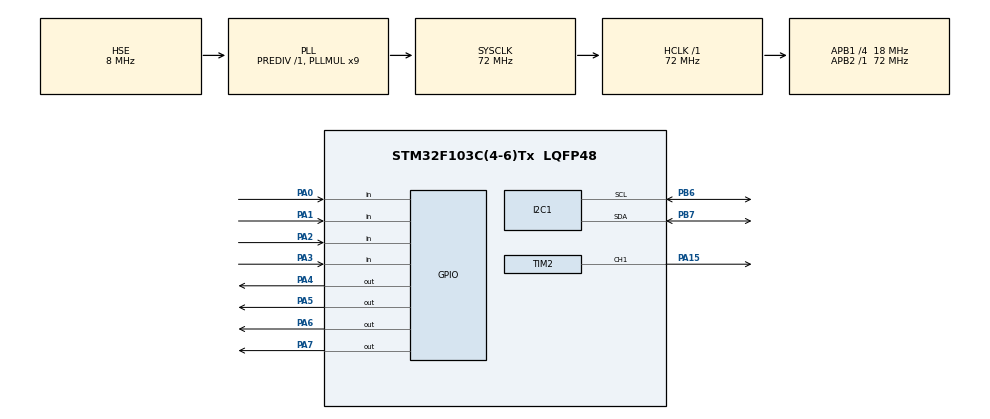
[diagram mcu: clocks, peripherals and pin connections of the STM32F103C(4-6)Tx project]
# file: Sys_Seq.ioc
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Mcu.Family=STM32F1
Mcu.Name=STM32F103C(4-6)Tx
Mcu.Package=LQFP48
NVIC.FLASH_IRQn=true\:0\:0\:false\:false\:true\:true\:true\:true
NVIC.I2C1_ER_IRQn=true\:0\:0\:false\:false\:true\:true\:true\:true
NVIC.I2C1_EV_IRQn=true\:0\:0\:false\:false\:true\:true\:true\:true
NVIC.PriorityGroup=NVIC_PRIORITYGROUP_4
NVIC.RCC_IRQn=true\:0\:0\:false\:false\:true\:true\:false\:true
NVIC.TIM2_IRQn=true\:0\:0\:false\:false\:true\:true\:true\:true
PA0-WKUP.GPIO_PuPd=GPIO_PULLUP
PA0-WKUP.Signal=GPIO_Input
PA1.GPIO_PuPd=GPIO_PULLUP
PA1.Signal=GPIO_Input
PA13.Mode=Serial_Wire
PA13.Signal=SYS_JTMS-SWDIO
PA14.Mode=Serial_Wire
PA14.Signal=SYS_JTCK-SWCLK
PA15.Signal=S_TIM2_CH1_ETR
PA2.GPIO_PuPd=GPIO_PULLUP
PA2.Signal=GPIO_Input
PA3.GPIO_PuPd=GPIO_PULLUP
PA3.Signal=GPIO_Input
PA4.GPIO_ModeDefaultOutputPP=GPIO_MODE_OUTPUT_OD
PA4.GPIO_PuPd=GPIO_NOPULL
PA4.GPIO_Speed=GPIO_SPEED_FREQ_LOW
PA4.PinState=GPIO_PIN_RESET
PA4.Signal=GPIO_Output
PA5.GPIO_ModeDefaultOutputPP=GPIO_MODE_OUTPUT_OD
PA5.GPIO_PuPd=GPIO_NOPULL
PA5.GPIO_Speed=GPIO_SPEED_FREQ_LOW
PA5.PinState=GPIO_PIN_RESET
PA5.Signal=GPIO_Output
PA6.GPIO_ModeDefaultOutputPP=GPIO_MODE_OUTPUT_OD
PA6.GPIO_PuPd=GPIO_NOPULL
PA6.GPIO_Speed=GPIO_SPEED_FREQ_LOW
PA6.PinState=GPIO_PIN_RESET
PA6.Signal=GPIO_Output
PA7.GPIO_ModeDefaultOutputPP=GPIO_MODE_OUTPUT_OD
PA7.GPIO_PuPd=GPIO_NOPULL
PA7.GPIO_Speed=GPIO_SPEED_FREQ_LOW
PA7.PinState=GPIO_PIN_RESET
PA7.Signal=GPIO_Output
PB6.Mode=I2C
PB6.Signal=I2C1_SCL
PB7.Mode=I2C
PB7.Signal=I2C1_SDA
PD0-OSC_IN.Mode=HSE-External-Oscillator
PD0-OSC_IN.Signal=RCC_OSC_IN
PD1-OSC_OUT.Mode=HSE-External-Oscillator
PD1-OSC_OUT.Signal=RCC_OSC_OUT
ProjectManager.HeapSize=0x200
ProjectManager.StackSize=0x400
ProjectManager.TargetToolchain=STM32CubeIDE
RCC.AHBFreq_Value=72000000
RCC.APB1CLKDivider=RCC_HCLK_DIV4
RCC.APB1Freq_Value=18000000
RCC.APB1TimFreq_Value=36000000
RCC.APB2Freq_Value=72000000
RCC.APB2TimFreq_Value=72000000
RCC.HCLKFreq_Value=72000000
RCC.PLLMUL=RCC_PLL_MUL9
RCC.PLLSourceVirtual=RCC_PLLSOURCE_HSE
RCC.SYSCLKFreq_VALUE=72000000
RCC.SYSCLKSource=RCC_SYSCLKSOURCE_PLLCLK
RCC.USBFreq_Value=72000000
SH.S_TIM2_CH1_ETR.0=TIM2_CH1,PWM Generation1 CH1
TIM2.Channel-PWM\ Generation1\ CH1=TIM_CHANNEL_1
TIM2.Period=999
TIM2.Prescaler=720
VP_TIM2_VS_ClockSourceINT.Mode=Internal
board=custom

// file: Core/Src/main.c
/* USER CODE BEGIN Header */
/**
  ******************************************************************************
  * @file           : main.c
  * @brief          : Main program body
  ******************************************************************************
  ** This notice applies to any and all portions of this file
  * that are not between comment pairs USER CODE BEGIN and
  * USER CODE END. Other portions of this file, whether
  * inserted by the user or by software development tools
  * are owned by their respective copyright owners.
  *
  * COPYRIGHT(c) 2019 STMicroelectronics
  *
  * Redistribution and use in source and binary forms, with or without modification,
  * are permitted provided that the following conditions are met:
  *   1. Redistributions of source code must retain the above copyright notice,
  *      this list of conditions and the following disclaimer.
  *   2. Redistributions in binary form must reproduce the above copyright notice,
  *      this list of conditions and the following disclaimer in the documentation
  *      and/or other materials provided with the distribution.
  *   3. Neither the name of STMicroelectronics nor the names of its contributors
  *      may be used to endorse or promote products derived from this software
  *      without specific prior written permission.
  *
  * THIS SOFTWARE IS PROVIDED BY THE COPYRIGHT HOLDERS AND CONTRIBUTORS "AS IS"
  * AND ANY EXPRESS OR IMPLIED WARRANTIES, INCLUDING, BUT NOT LIMITED TO, THE
  * IMPLIED WARRANTIES OF MERCHANTABILITY AND FITNESS FOR A PARTICULAR PURPOSE ARE
  * DISCLAIMED. IN NO EVENT SHALL THE COPYRIGHT HOLDER OR CONTRIBUTORS BE LIABLE
  * FOR ANY DIRECT, INDIRECT, INCIDENTAL, SPECIAL, EXEMPLARY, OR CONSEQUENTIAL
  * DAMAGES (INCLUDING, BUT NOT LIMITED TO, PROCUREMENT OF SUBSTITUTE GOODS OR
  * SERVICES; LOSS OF USE, DATA, OR PROFITS; OR BUSINESS INTERRUPTION) HOWEVER
  * CAUSED AND ON ANY THEORY OF LIABILITY, WHETHER IN CONTRACT, STRICT LIABILITY,
  * OR TORT (INCLUDING NEGLIGENCE OR OTHERWISE) ARISING IN ANY WAY OUT OF THE USE
  * OF THIS SOFTWARE, EVEN IF ADVISED OF THE POSSIBILITY OF SUCH DAMAGE.
  *
  ******************************************************************************
  */
/* USER CODE END Header */
#include "main.h"

/* USER CODE BEGIN Includes */
#include "i2c-lcd.h"
#include <string.h>
#include <stdio.h>
#include <stdlib.h>
/* USER CODE END Includes */

/* USER CODE BEGIN PD */
#define R1_PORT GPIOA
#define R1_PIN GPIO_PIN_7

#define R2_PORT GPIOA
#define R2_PIN GPIO_PIN_6

#define R3_PORT GPIOA
#define R3_PIN GPIO_PIN_5

#define R4_PORT GPIOA
#define R4_PIN GPIO_PIN_4

#define C1_PORT GPIOA
#define C1_PIN GPIO_PIN_3

#define C2_PORT GPIOA
#define C2_PIN GPIO_PIN_2

#define C3_PORT GPIOA
#define C3_PIN GPIO_PIN_1

#define C4_PORT GPIOA
#define C4_PIN GPIO_PIN_0

// Размер матрицы клавиатуры
#define ROWS 4
#define COLS 4
#define SIZE_BUFFER_CODE 8
#define SIZE_PASSWORD 4
#define RESET_PASSWORD "0#01"
/* USER CODE END PD */

I2C_HandleTypeDef hi2c1;

TIM_HandleTypeDef htim2;

/* USER CODE BEGIN PV */
uint8_t special_flag;
char key;
char buffer_code[SIZE_BUFFER_CODE];
char password[SIZE_PASSWORD] = {'1','2','3','4'};
char stars_password[SIZE_PASSWORD];
/* USER CODE END PV */

void SystemClock_Config(void);
static void MX_GPIO_Init(void);
static void MX_I2C1_Init(void);
static void MX_TIM2_Init(void);

/* USER CODE BEGIN 0 */
 void Servo()
{
HAL_TIM_PWM_Start(&htim2, TIM_CHANNEL_1);
htim2.Instance -> CCR1 = 35;
HAL_Delay(500);
htim2.Instance -> CCR1 = 72;
HAL_Delay(3000);
htim2.Instance -> CCR1 = 112;
HAL_Delay(500);
HAL_TIM_PWM_Stop(&htim2, TIM_CHANNEL_1);
}

char read_keypad (void)
{
	/* Make ROW 1 LOW and all other ROWs HIGH */
	HAL_GPIO_WritePin (R1_PORT, R1_PIN, GPIO_PIN_RESET);  //Pull the R1 low
	HAL_GPIO_WritePin (R2_PORT, R2_PIN, GPIO_PIN_SET);  // Pull the R2 High
	HAL_GPIO_WritePin (R3_PORT, R3_PIN, GPIO_PIN_SET);  // Pull the R3 High
	HAL_GPIO_WritePin (R4_PORT, R4_PIN, GPIO_PIN_SET);  // Pull the R4 High

	if (!(HAL_GPIO_ReadPin (C1_PORT, C1_PIN)))   // if the Col 1 is low
	{
		while (!(HAL_GPIO_ReadPin (C1_PORT, C1_PIN)));   // wait till the button is pressed
		return '1';
	}

	if (!(HAL_GPIO_ReadPin (C2_PORT, C2_PIN)))   // if the Col 2 is low
	{
		while (!(HAL_GPIO_ReadPin (C2_PORT, C2_PIN)));   // wait till the button is pressed
		return '2';
	}

	if (!(HAL_GPIO_ReadPin (C3_PORT, C3_PIN)))   // if the Col 3 is low
	{
		while (!(HAL_GPIO_ReadPin (C3_PORT, C3_PIN)));   // wait till the button is pressed
		return '3';
	}

	if (!(HAL_GPIO_ReadPin (C4_PORT, C4_PIN)))   // if the Col 4 is low
	{
		while (!(HAL_GPIO_ReadPin (C4_PORT, C4_PIN)));   // wait till the button is pressed
		return 'A';
	}

	/* Make ROW 2 LOW and all other ROWs HIGH */
	HAL_GPIO_WritePin (R1_PORT, R1_PIN, GPIO_PIN_SET);
	HAL_GPIO_WritePin (R2_PORT, R2_PIN, GPIO_PIN_RESET);
	HAL_GPIO_WritePin (R3_PORT, R3_PIN, GPIO_PIN_SET);
	HAL_GPIO_WritePin (R4_PORT, R4_PIN, GPIO_PIN_SET);

	if (!(HAL_GPIO_ReadPin (C1_PORT, C1_PIN)))   // if the Col 1 is low
	{
		while (!(HAL_GPIO_ReadPin (C1_PORT, C1_PIN)));   // wait till the button is pressed
		return '4';
	}

	if (!(HAL_GPIO_ReadPin (C2_PORT, C2_PIN)))   // if the Col 2 is low
	{
		while (!(HAL_GPIO_ReadPin (C2_PORT, C2_PIN)));   // wait till the button is pressed
		return '5';
	}

	if (!(HAL_GPIO_ReadPin (C3_PORT, C3_PIN)))   // if the Col 3 is low
	{
		while (!(HAL_GPIO_ReadPin (C3_PORT, C3_PIN)));   // wait till the button is pressed
		return '6';
	}

	if (!(HAL_GPIO_ReadPin (C4_PORT, C4_PIN)))   // if the Col 4 is low
	{
		while (!(HAL_GPIO_ReadPin (C4_PORT, C4_PIN)));   // wait till the button is pressed
		return 'B';
	}

	/* Make ROW 3 LOW and all other ROWs HIGH */
	HAL_GPIO_WritePin (R1_PORT, R1_PIN, GPIO_PIN_SET);
	HAL_GPIO_WritePin (R2_PORT, R2_PIN, GPIO_PIN_SET);
	HAL_GPIO_WritePin (R3_PORT, R3_PIN, GPIO_PIN_RESET);
	HAL_GPIO_WritePin (R4_PORT, R4_PIN, GPIO_PIN_SET);

	if (!(HAL_GPIO_ReadPin (C1_PORT, C1_PIN)))   // if the Col 1 is low
	{
		while (!(HAL_GPIO_ReadPin (C1_PORT, C1_PIN)));   // wait till the button is pressed
		return '7';
	}

	if (!(HAL_GPIO_ReadPin (C2_PORT, C2_PIN)))   // if the Col 2 is low
	{
		while (!(HAL_GPIO_ReadPin (C2_PORT, C2_PIN)));   // wait till the button is pressed
		return '8';
	}

	if (!(HAL_GPIO_ReadPin (C3_PORT, C3_PIN)))   // if the Col 3 is low
	{
		while (!(HAL_GPIO_ReadPin (C3_PORT, C3_PIN)));   // wait till the button is pressed
		return '9';
	}

	if (!(HAL_GPIO_ReadPin (C4_PORT, C4_PIN)))   // if the Col 4 is low
	{
		while (!(HAL_GPIO_ReadPin (C4_PORT, C4_PIN)));   // wait till the button is pressed
		return 'C';
	}

	/* Make ROW 4 LOW and all other ROWs HIGH */
	HAL_GPIO_WritePin (R1_PORT, R1_PIN, GPIO_PIN_SET);
	HAL_GPIO_WritePin (R2_PORT, R2_PIN, GPIO_PIN_SET);
	HAL_GPIO_WritePin (R3_PORT, R3_PIN, GPIO_PIN_SET);
	HAL_GPIO_WritePin (R4_PORT, R4_PIN, GPIO_PIN_RESET);

	if (!(HAL_GPIO_ReadPin (C1_PORT, C1_PIN)))   // if the Col 1 is low
	{
		while (!(HAL_GPIO_ReadPin (C1_PORT, C1_PIN)));   // wait till the button is pressed
		return '*';
	}

	if (!(HAL_GPIO_ReadPin (C2_PORT, C2_PIN)))   // if the Col 2 is low
	{
		while (!(HAL_GPIO_ReadPin (C2_PORT, C2_PIN)));   // wait till the button is pressed
		return '0';
	}

	if (!(HAL_GPIO_ReadPin (C3_PORT, C3_PIN)))   // if the Col 3 is low
	{
		while (!(HAL_GPIO_ReadPin (C3_PORT, C3_PIN)));   // wait till the button is pressed
		return '#';
	}

	if (!(HAL_GPIO_ReadPin (C4_PORT, C4_PIN)))   // if the Col 4 is low
	{
		while (!(HAL_GPIO_ReadPin (C4_PORT, C4_PIN)));   // wait till the button is pressed
		return 'D';
	}

}

void lcd_new_message(char *str){
	memset(buffer_code, 0, sizeof(buffer_code));
	lcd_clear();
	lcd_put_cur(0,0);
	lcd_send_string(str);
}

/* USER CODE END 0 */

int main(void)
{

  /* MCU Configuration--------------------------------------------------------*/

  /* Reset of all peripherals, Initializes the Flash interface and the Systick. */
  HAL_Init();

  /* Configure the system clock */
  SystemClock_Config();

  /* Initialize all configured peripherals */
  MX_GPIO_Init();
  MX_I2C1_Init();
  MX_TIM2_Init();
  /* USER CODE BEGIN 2 */

   lcd_init ();
	lcd_put_cur(0,0);
	lcd_send_string ("Enter pass: ");
  /* USER CODE END 2 */

  /* Infinite loop */
  while (1)
  {

    /* USER CODE BEGIN 3 */
		key = read_keypad ();
		if (key!=0x01)
		{
			strcat(buffer_code, &key);
			if((strstr(buffer_code,RESET_PASSWORD)!= NULL)&&(special_flag == 0)){
				lcd_new_message("Enter new pass:");
				special_flag = 1;
			}
			if((strlen(buffer_code) == SIZE_PASSWORD)&&(special_flag == 1)){
				memcpy(password, buffer_code, 4);
				lcd_new_message("Changed pass: OK");
				special_flag = 0;
			}
			if((strlen(buffer_code) > strlen(password))&&(special_flag==0)){
				lcd_new_message("Enter pass: ");
			} else if(strstr(buffer_code,password)!= NULL){
				lcd_new_message("Enter pass: OK");
				Servo();
			}
			if(strlen(buffer_code) > 0){
				memset(stars_password, '*', strlen(buffer_code));
				lcd_clear();
				lcd_put_cur(0,0);
				if(special_flag==0){
					lcd_send_string ("Enter pass: ");
					lcd_put_cur(0,12);
				} else if (special_flag==1){
					lcd_send_string ("Enter new pass:");
					lcd_put_cur(1,0);
				}
				lcd_send_string(stars_password);
				memset(stars_password, 0, sizeof(stars_password));
			}
		}
		HAL_Delay(200);
  }
  /* USER CODE END 3 */
}

void SystemClock_Config(void)
{
  RCC_OscInitTypeDef RCC_OscInitStruct = {0};
  RCC_ClkInitTypeDef RCC_ClkInitStruct = {0};

  /** Initializes the RCC Oscillators according to the specified parameters
  * in the RCC_OscInitTypeDef structure.
  */
  RCC_OscInitStruct.OscillatorType = RCC_OSCILLATORTYPE_HSE;
  RCC_OscInitStruct.HSEState = RCC_HSE_ON;
  RCC_OscInitStruct.HSEPredivValue = RCC_HSE_PREDIV_DIV1;
  RCC_OscInitStruct.HSIState = RCC_HSI_ON;
  RCC_OscInitStruct.PLL.PLLState = RCC_PLL_ON;
  RCC_OscInitStruct.PLL.PLLSource = RCC_PLLSOURCE_HSE;
  RCC_OscInitStruct.PLL.PLLMUL = RCC_PLL_MUL9;
  if (HAL_RCC_OscConfig(&RCC_OscInitStruct) != HAL_OK)
  {
    Error_Handler();
  }

  /** Initializes the CPU, AHB and APB buses clocks
  */
  RCC_ClkInitStruct.ClockType = RCC_CLOCKTYPE_HCLK|RCC_CLOCKTYPE_SYSCLK
                              |RCC_CLOCKTYPE_PCLK1|RCC_CLOCKTYPE_PCLK2;
  RCC_ClkInitStruct.SYSCLKSource = RCC_SYSCLKSOURCE_PLLCLK;
  RCC_ClkInitStruct.AHBCLKDivider = RCC_SYSCLK_DIV1;
  RCC_ClkInitStruct.APB1CLKDivider = RCC_HCLK_DIV4;
  RCC_ClkInitStruct.APB2CLKDivider = RCC_HCLK_DIV1;

  if (HAL_RCC_ClockConfig(&RCC_ClkInitStruct, FLASH_LATENCY_2) != HAL_OK)
  {
    Error_Handler();
  }
}

static void MX_I2C1_Init(void)
{

  hi2c1.Instance = I2C1;
  hi2c1.Init.ClockSpeed = 100000;
  hi2c1.Init.DutyCycle = I2C_DUTYCYCLE_2;
  hi2c1.Init.OwnAddress1 = 0;
  hi2c1.Init.AddressingMode = I2C_ADDRESSINGMODE_7BIT;
  hi2c1.Init.DualAddressMode = I2C_DUALADDRESS_DISABLE;
  hi2c1.Init.OwnAddress2 = 0;
  hi2c1.Init.GeneralCallMode = I2C_GENERALCALL_DISABLE;
  hi2c1.Init.NoStretchMode = I2C_NOSTRETCH_DISABLE;
  if (HAL_I2C_Init(&hi2c1) != HAL_OK)
  {
    Error_Handler();
  }

}

static void MX_TIM2_Init(void)
{

  TIM_ClockConfigTypeDef sClockSourceConfig = {0};
  TIM_MasterConfigTypeDef sMasterConfig = {0};
  TIM_OC_InitTypeDef sConfigOC = {0};

  htim2.Instance = TIM2;
  htim2.Init.Prescaler = 720;
  htim2.Init.CounterMode = TIM_COUNTERMODE_UP;
  htim2.Init.Period = 999;
  htim2.Init.ClockDivision = TIM_CLOCKDIVISION_DIV1;
  htim2.Init.AutoReloadPreload = TIM_AUTORELOAD_PRELOAD_DISABLE;
  if (HAL_TIM_Base_Init(&htim2) != HAL_OK)
  {
    Error_Handler();
  }
  sClockSourceConfig.ClockSource = TIM_CLOCKSOURCE_INTERNAL;
  if (HAL_TIM_ConfigClockSource(&htim2, &sClockSourceConfig) != HAL_OK)
  {
    Error_Handler();
  }
  if (HAL_TIM_PWM_Init(&htim2) != HAL_OK)
  {
    Error_Handler();
  }
  sMasterConfig.MasterOutputTrigger = TIM_TRGO_RESET;
  sMasterConfig.MasterSlaveMode = TIM_MASTERSLAVEMODE_DISABLE;
  if (HAL_TIMEx_MasterConfigSynchronization(&htim2, &sMasterConfig) != HAL_OK)
  {
    Error_Handler();
  }
  sConfigOC.OCMode = TIM_OCMODE_PWM1;
  sConfigOC.Pulse = 0;
  sConfigOC.OCPolarity = TIM_OCPOLARITY_HIGH;
  sConfigOC.OCFastMode = TIM_OCFAST_DISABLE;
  if (HAL_TIM_PWM_ConfigChannel(&htim2, &sConfigOC, TIM_CHANNEL_1) != HAL_OK)
  {
    Error_Handler();
  }
  HAL_TIM_MspPostInit(&htim2);

}

static void MX_GPIO_Init(void)
{
  GPIO_InitTypeDef GPIO_InitStruct = {0};

  /* GPIO Ports Clock Enable */
  __HAL_RCC_GPIOD_CLK_ENABLE();
  __HAL_RCC_GPIOA_CLK_ENABLE();
  __HAL_RCC_GPIOB_CLK_ENABLE();

  /*Configure GPIO pin Output Level */
  HAL_GPIO_WritePin(GPIOA, GPIO_PIN_4|GPIO_PIN_5|GPIO_PIN_6|GPIO_PIN_7, GPIO_PIN_RESET);

  /*Configure GPIO pins : PA0 PA1 PA2 PA3 */
  GPIO_InitStruct.Pin = GPIO_PIN_0|GPIO_PIN_1|GPIO_PIN_2|GPIO_PIN_3;
  GPIO_InitStruct.Mode = GPIO_MODE_INPUT;
  GPIO_InitStruct.Pull = GPIO_PULLUP;
  HAL_GPIO_Init(GPIOA, &GPIO_InitStruct);

  /*Configure GPIO pins : PA4 PA5 PA6 PA7 */
  GPIO_InitStruct.Pin = GPIO_PIN_4|GPIO_PIN_5|GPIO_PIN_6|GPIO_PIN_7;
  GPIO_InitStruct.Mode = GPIO_MODE_OUTPUT_OD;
  GPIO_InitStruct.Pull = GPIO_NOPULL;
  GPIO_InitStruct.Speed = GPIO_SPEED_FREQ_LOW;
  HAL_GPIO_Init(GPIOA, &GPIO_InitStruct);

}

void Error_Handler(void)
{
}
